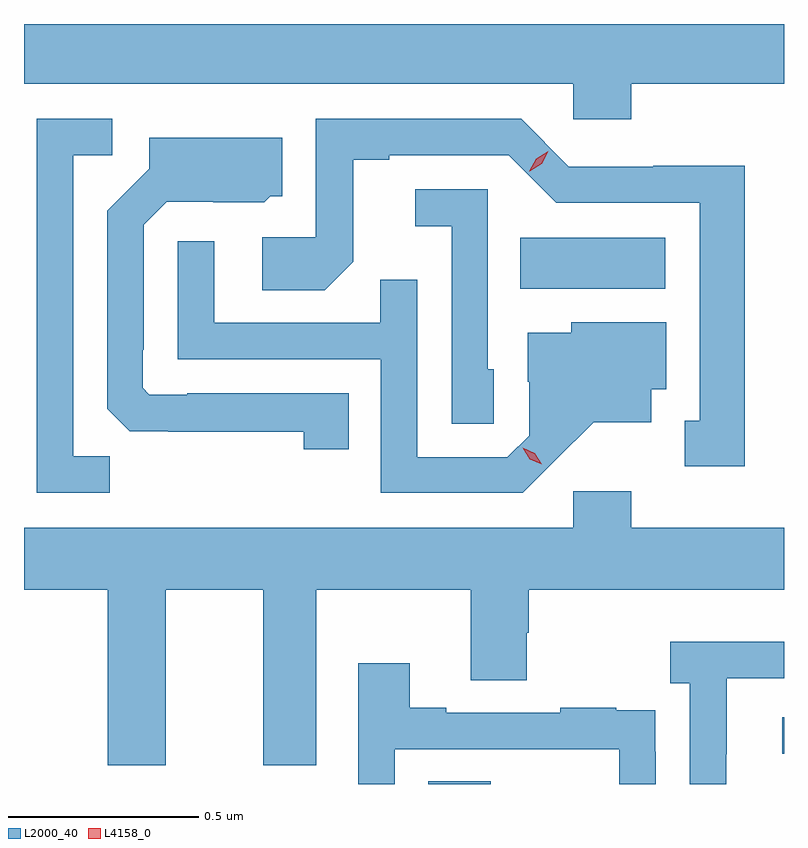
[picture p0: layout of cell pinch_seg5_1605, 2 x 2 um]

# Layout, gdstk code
import gdstk
lib = gdstk.Library(unit=1e-6, precision=1e-09)
def R(c, l, rs):  # rectangles x0, y0, x1, y1
    for r in rs: c.add(gdstk.rectangle(r[:2], r[2:], *l))
def P(c, l, *ps):  # polygons
    for p in ps: c.add(gdstk.Polygon(p, *l))
L2000_40 = (2000, 40)
L4158_0 = (4158, 0)

pinch_seg5_1605 = lib.new_cell('pinch_seg5_1605')
R(pinch_seg5_1605, L2000_40, [(304.736,868.237,304.9,868.244), (305.667,868.317,305.672,868.413), (304.978,869.54,305.359,869.674)])
P(pinch_seg5_1605, L2000_40, [(305.27,870.08),(305.672,870.08),(305.672,870.237),(303.672,870.237),(303.672,870.08),(305.118,870.08),(305.118,869.987),(305.27,869.987)],
  [(305.569,869.864),(305.328,869.864),(305.328,869.862),(305.106,869.862),(304.98,869.988),(304.44,869.988),(304.44,869.676),(304.299,869.676),(304.299,869.536),(304.463,869.536),(304.539,869.612),(304.539,869.88),(304.633,869.88),(304.633,869.892),(304.947,869.892),(305.073,869.766),(305.45,869.766),(305.45,869.193),(305.411,869.193),(305.411,869.073),(305.569,869.073)],
  [(303.897,869.099),(303.801,869.099),(303.801,869.892),(303.904,869.892),(303.904,869.988),(303.705,869.988),(303.705,869.004),(303.897,869.004)],
  [(304.526,869.265),(304.102,869.265),(304.102,869.262),(304.002,869.262),(303.984,869.28),(303.984,869.38),(303.987,869.38),(303.987,869.709),(304.047,869.769),(304.17,869.769),(304.17,869.768),(304.304,869.768),(304.32,869.784),(304.351,869.784),(304.351,869.938),(304.001,869.938),(304.001,869.856),(303.891,869.746),(303.891,869.224),(303.95,869.165),(304.051,869.165),(304.051,869.164),(304.408,869.164),(304.408,869.118),(304.526,869.118)],
  [(304.908,869.328),(304.893,869.328),(304.893,869.802),(304.701,869.802),(304.701,869.705),(304.797,869.705),(304.797,869.185),(304.908,869.185)],
  [(305.068,869.087),(305.171,869.189),(305.323,869.189),(305.323,869.276),(305.362,869.276),(305.362,869.452),(305.112,869.452),(305.112,869.425),(304.997,869.425),(304.997,869.296),(305.001,869.296),(305.001,869.154),(304.944,869.097),(304.707,869.097),(304.707,869.564),(304.609,869.564),(304.609,869.451),(304.173,869.451),(304.173,869.665),(304.077,869.665),(304.077,869.355),(304.611,869.355),(304.611,869.004),(304.984,869.004)],
  [(304.045,868.748),(304.301,868.748),(304.301,868.287),(304.441,868.287),(304.441,868.748),(304.847,868.748),(304.847,868.51),(304.995,868.51),(304.995,868.635),(305,868.635),(305,868.748),(305.672,868.748),(305.672,868.912),(305.27,868.912),(305.27,869.008),(305.118,869.008),(305.118,868.912),(303.672,868.912),(303.672,868.748),(303.893,868.748),(303.893,868.287),(304.045,868.287)],
  [(305.52,868.315),(305.521,868.315),(305.521,868.515),(305.672,868.515),(305.672,868.612),(305.373,868.612),(305.373,868.502),(305.424,868.502),(305.424,868.237),(305.52,868.237)],
  [(304.647,868.329),(305.238,868.329),(305.238,868.237),(305.334,868.237),(305.334,868.322),(305.333,868.322),(305.333,868.431),(305.231,868.431),(305.231,868.438),(305.083,868.438),(305.083,868.425),(304.783,868.425),(304.783,868.438),(304.687,868.438),(304.687,868.555),(304.551,868.555),(304.551,868.237),(304.647,868.237)])
P(pinch_seg5_1605, L4158_0, [(305.002,869.85),(305.002,869.85),(305.02,869.883),(305.051,869.902),(305.052,869.902),(305.052,869.902),(305.034,869.869),(305.003,869.85)],
  [(305.034,869.078),(305.003,869.092),(304.985,869.122),(304.985,869.122),(304.985,869.122),(305.016,869.107),(305.034,869.078),(305.034,869.078)])

lib.write_gds('pinch_seg5_1605.gds')
